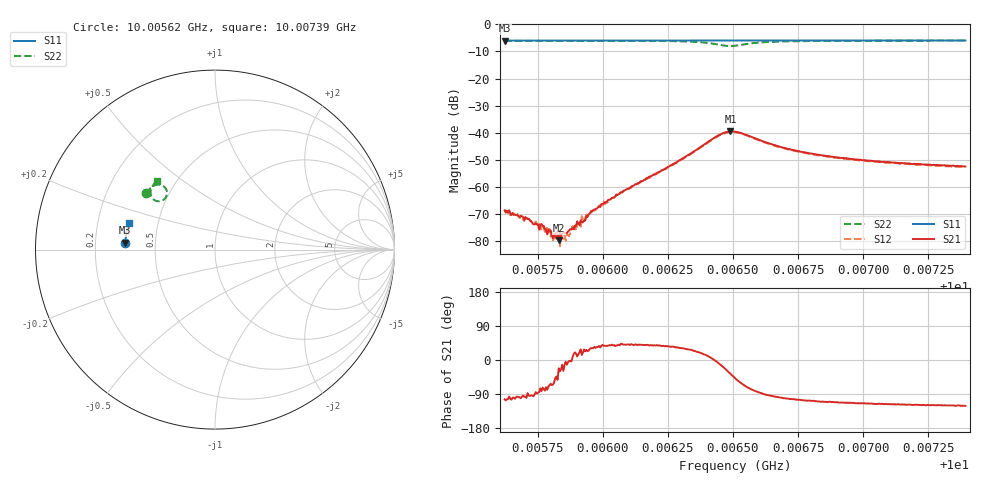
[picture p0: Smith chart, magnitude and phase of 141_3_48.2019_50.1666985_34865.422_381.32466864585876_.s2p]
#  HZ  S  RI  R  50.00
! Rohde & Schwarz Vector Network Analyzer
! Rohde-Schwarz,ZNB20-2Port,1311601062101988,3.16
! Created: UTC 3/20/2024, 11:42:19 AM
! freq[Hz]  re:S11  im:S11  re:S21  im:S21  re:S12  im:S12  re:S22  im:S22
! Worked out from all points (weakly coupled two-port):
!   401 points, 10.00562 GHz to 10.00739 GHz, reference 50 ohm
!   highest |S21| = -39.50 dB at 10.00649 GHz (marker M1); lowest = -79.6 dB at 10.00583 GHz (marker M2)
!   lowest |S11| = -6.0 dB at 10.00562 GHz (marker M3), VSWR 3.01, Z = 16.7 + j1.69 ohm
!   |S11| at or under -10 dB: nowhere
!   |S22| runs from -8.0 to -6.0 dB; largest |S21 - S12| = 0.00062
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1.0005622e10  -0.4994 0.038  -8.7e-05 -0.000359  -7.69e-05 -0.000355  -0.3847 0.3147
1.0005711e10  -0.4992 0.0438  1.05e-05 -0.000255  1.69e-05 -0.000261  -0.3805 0.3201
1.0005751e10  -0.499 0.0464  1.32e-05 -0.000201  2.24e-05 -0.000192  -0.3785 0.3226
1.0005769e10  -0.4989 0.0475  5.74e-05 -0.000184  4.22e-05 -0.000178  -0.3775 0.3238
1.0005795e10  -0.4987 0.0494  6.16e-05 -0.000142  7.61e-05 -0.00015  -0.3763 0.3254
1.0005808e10  -0.4988 0.0502  4.81e-05 -0.000103  5.73e-05 -8.67e-05  -0.3757 0.3263
1.000583e10  -0.4987 0.0517  9.69e-05 -3.85e-05  0.000119 -5.98e-05  -0.3743 0.3276
1.0005844e10  -0.4985 0.0525  0.000134 -3.02e-05  0.000102 -4.61e-05  -0.3736 0.3285
1.0005866e10  -0.4985 0.0539  0.000149 -1.54e-05  0.00013 -1.3e-05  -0.3724 0.33
1.0005884e10  -0.4984 0.0552  0.000172 2.23e-05  0.000189 -3.98e-07  -0.3714 0.3311
1.0005919e10  -0.4983 0.0575  0.000214 5.09e-05  0.000263 0.000115  -0.3693 0.3334
1.0005954e10  -0.4979 0.0597  0.000307 0.000186  0.000268 0.000199  -0.367 0.3359
1.0006003e10  -0.4977 0.063  0.000389 0.000298  0.00043 0.000321  -0.3637 0.339
1.0006216e10  -0.496 0.0767  0.00149 0.00117  0.00142 0.00117  -0.3425 0.3553
1.0006437e10  -0.4934 0.0908  0.00855 -0.000639  0.00831 -0.000159  -0.2706 0.3328
1.000649e10  -0.4928 0.0935  0.0085 -0.00631  0.00857 -0.0057  -0.2816 0.2819
1.0006508e10  -0.4927 0.0945  0.00699 -0.00778  0.00723 -0.00726  -0.2979 0.2718
1.0006579e10  -0.4925 0.0989  0.00138 -0.00797  0.00177 -0.00776  -0.3489 0.2855
1.000668e10  -0.4917 0.1055  -0.000849 -0.00546  -0.000606 -0.00538  -0.36 0.3199
1.0006804e10  -0.4903 0.1136  -0.00127 -0.00392  -0.00106 -0.00385  -0.3547 0.3412
1.0007101e10  -0.4862 0.1323  -0.00128 -0.00255  -0.00116 -0.00257  -0.3379 0.367
1.0007393e10  -0.4814 0.1506  -0.00122 -0.00204  -0.00108 -0.00207  -0.3224 0.3838
